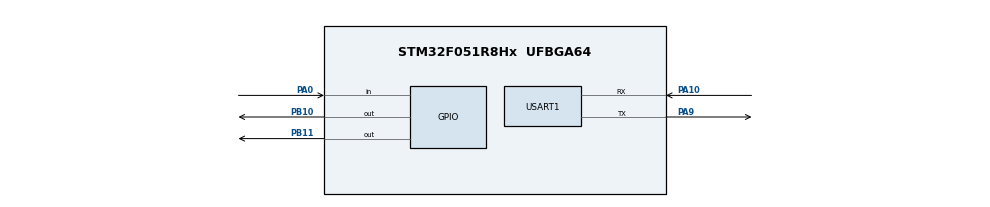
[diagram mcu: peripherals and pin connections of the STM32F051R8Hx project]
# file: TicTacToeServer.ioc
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Mcu.Family=STM32F0
Mcu.Name=STM32F051R8Hx
Mcu.Package=UFBGA64
PA0.GPIO_PuPd=GPIO_PULLUP
PA0.Signal=GPIO_Input
PA10.Mode=Asynchronous
PA10.Signal=USART1_RX
PA13.Mode=Serial_Wire
PA13.Signal=SYS_SWDIO
PA14.Mode=Serial_Wire
PA14.Signal=SYS_SWCLK
PA9.Mode=Asynchronous
PA9.Signal=USART1_TX
PB10.Signal=GPIO_Output
PB11.Signal=GPIO_Output
ProjectManager.HeapSize=0x200
ProjectManager.StackSize=0x400
ProjectManager.TargetToolchain=STM32CubeIDE
USART1.VirtualMode-Asynchronous=VM_ASYNC
board=custom

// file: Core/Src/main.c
/* USER CODE BEGIN Header */
/**
  ******************************************************************************
  * @file           : main.c
  * @brief          : Main program body
  ******************************************************************************
  * @attention
  *
  * Copyright (c) 2026 STMicroelectronics.
  * All rights reserved.
  *
  * This software is licensed under terms that can be found in the LICENSE file
  * in the root directory of this software component.
  * If no LICENSE file comes with this software, it is provided AS-IS.
  *
  ******************************************************************************
  */
/* USER CODE END Header */
#include "main.h"

/* USER CODE BEGIN Includes */
#include <string.h>
#include <stdio.h>
#include <stdlib.h>
/* USER CODE END Includes */

UART_HandleTypeDef huart1;

/* USER CODE BEGIN PV */
/* ---------------------------------------------------------------------------
 * LED (D9, dual colour): PB10 = RED, PB11 = GREEN on the schematic, active HIGH.
 * On this particular board the two colours show swapped, so BOARD_RG_SWAPPED
 * swaps the pins in software. Set it to 0 on a board with correct colours.
 * ------------------------------------------------------------------------- */
#define BOARD_RG_SWAPPED 1
#if BOARD_RG_SWAPPED
  #define LED_R_PIN  GPIO_PIN_11
  #define LED_G_PIN  GPIO_PIN_10
#else
  #define LED_R_PIN  GPIO_PIN_10
  #define LED_G_PIN  GPIO_PIN_11
#endif
#define LED_R_PORT  GPIOB
#define LED_G_PORT  GPIOB
#define LED_ON      GPIO_PIN_SET
#define LED_OFF     GPIO_PIN_RESET

// Button: SW0 on PA0, pressed = LOW (internal pull-up)
#define BUTTON_PORT GPIOA
#define BUTTON_PIN  GPIO_PIN_0
#define BUTTON_DEBOUNCE_MS 50

// Server state
typedef enum { STATE_IDLE, STATE_IN_PROGRESS, STATE_GAME_OVER } GameState;
GameState game_state = STATE_IDLE;
uint8_t connected = 0;          // session flag, set by CONNECT, cleared by DISCONNECT
char board[9];
char turn = 'X';
uint8_t ai_mode = 0;            // 1 = built-in AI plays O (human is X)
uint8_t history[9];             // cell index of every move, in order played
uint8_t hist_len = 0;
char    last_mover = 'X';       // mark of the most recent move (for WIN:<m>)
uint8_t reply_crc = 0;          // 1 = replies carry *HH (set when the last frame did)

// UART receive: ISR -> ring buffer -> main-loop line framer
#define RX_RING_SIZE      128
#define LINE_MAX_LEN      63    // payload chars per frame (terminator excluded)
#define FRAME_TIMEOUT_MS  500   // an unterminated frame is discarded after this
volatile uint8_t  rx_ring[RX_RING_SIZE];
volatile uint16_t rx_head = 0, rx_tail = 0;
volatile uint8_t  rx_fault = 0; // set by ISR on ring overflow or UART error
char     line_buf[LINE_MAX_LEN + 1];
uint16_t line_len = 0;
uint8_t  frame_err = 0;         // FE_* : frame already known to be bad
uint32_t last_rx_tick = 0;
enum { FE_NONE = 0, FE_TOOLONG, FE_GARBAGE };
/* USER CODE END PV */

void SystemClock_Config(void);
static void MX_GPIO_Init(void);
static void MX_USART1_UART_Init(void);
/* USER CODE BEGIN PFP */
void game_new(void);
int  line_win(const char *b, char p);
int  board_full(const char *b);
int  check_win(char p);
int  check_draw(void);
int  apply_move(int idx);
void send_str(const char *s);
void send_board_ok(void);
void send_board_state(void);
void send_move_result(int r);
void handle_move(const char *args);
void handle_undo(void);
void handle_history(void);
int  negamax(char *b, char me, char opp, int depth, int alpha, int beta);
int  ai_choose(char me);
int  ai_reply(void);
uint8_t crc8(const char *s, uint16_t n);
int  strip_checksum(char *buf, uint16_t *len);
void process_command(char *cmd);
void process_rx(void);
void check_frame_timeout(void);
void uart_rx_push(uint8_t b);
void update_led(void);
void check_button(void);
/* USER CODE END PFP */

int main(void)
{

  /* MCU Configuration--------------------------------------------------------*/

  /* Reset of all peripherals, Initializes the Flash interface and the Systick. */
  HAL_Init();

  /* Configure the system clock */
  SystemClock_Config();

  /* Initialize all configured peripherals */
  MX_GPIO_Init();
  MX_USART1_UART_Init();
  /* USER CODE BEGIN 2 */
  // Arm reception FIRST so bytes sent while we boot are not lost.
  // RX is handled by a tiny register-level ISR (USART1_IRQHandler in
  // stm32f0xx_it.c -> uart_rx_push below). HAL's byte-at-a-time IT API is too
  // slow at 8 MHz / 115200 baud and overruns on back-to-back bytes.
  game_state = STATE_IDLE;
  __HAL_UART_ENABLE_IT(&huart1, UART_IT_RXNE);

  // --- Boot indicator: flash LED 3 times ---
  for (int i = 0; i < 3; i++) {
      HAL_GPIO_WritePin(LED_R_PORT, LED_R_PIN, LED_ON);
      HAL_GPIO_WritePin(LED_G_PORT, LED_G_PIN, LED_ON);
      HAL_Delay(100);
      HAL_GPIO_WritePin(LED_R_PORT, LED_R_PIN, LED_OFF);
      HAL_GPIO_WritePin(LED_G_PORT, LED_G_PIN, LED_OFF);
      HAL_Delay(100);
  }

  // --- Boot message over UART ---
  send_str("\r\n=== Tic-Tac-Toe Server Ready ===\r\n");
  send_str("Waiting for CONNECT...\r\n");
  /* USER CODE END 2 */

  /* Infinite loop */
  /* USER CODE BEGIN WHILE */
  while (1)
  {
	  process_rx();
	  check_frame_timeout();
	  update_led();
	  check_button();
    /* USER CODE END WHILE */

  }
}

void SystemClock_Config(void)
{
  RCC_OscInitTypeDef RCC_OscInitStruct = {0};
  RCC_ClkInitTypeDef RCC_ClkInitStruct = {0};
  RCC_PeriphCLKInitTypeDef PeriphClkInit = {0};

  /** Initializes the RCC Oscillators according to the specified parameters
  * in the RCC_OscInitTypeDef structure.
  */
  RCC_OscInitStruct.OscillatorType = RCC_OSCILLATORTYPE_HSI;
  RCC_OscInitStruct.HSIState = RCC_HSI_ON;
  RCC_OscInitStruct.HSICalibrationValue = RCC_HSICALIBRATION_DEFAULT;
  RCC_OscInitStruct.PLL.PLLState = RCC_PLL_NONE;
  if (HAL_RCC_OscConfig(&RCC_OscInitStruct) != HAL_OK)
  {
    Error_Handler();
  }

  /** Initializes the CPU, AHB and APB buses clocks
  */
  RCC_ClkInitStruct.ClockType = RCC_CLOCKTYPE_HCLK|RCC_CLOCKTYPE_SYSCLK
                              |RCC_CLOCKTYPE_PCLK1;
  RCC_ClkInitStruct.SYSCLKSource = RCC_SYSCLKSOURCE_HSI;
  RCC_ClkInitStruct.AHBCLKDivider = RCC_SYSCLK_DIV1;
  RCC_ClkInitStruct.APB1CLKDivider = RCC_HCLK_DIV1;

  if (HAL_RCC_ClockConfig(&RCC_ClkInitStruct, FLASH_LATENCY_0) != HAL_OK)
  {
    Error_Handler();
  }
  PeriphClkInit.PeriphClockSelection = RCC_PERIPHCLK_USART1;
  PeriphClkInit.Usart1ClockSelection = RCC_USART1CLKSOURCE_PCLK1;
  if (HAL_RCCEx_PeriphCLKConfig(&PeriphClkInit) != HAL_OK)
  {
    Error_Handler();
  }
}

static void MX_USART1_UART_Init(void)
{

  huart1.Instance = USART1;
  huart1.Init.BaudRate = 115200;
  huart1.Init.WordLength = UART_WORDLENGTH_8B;
  huart1.Init.StopBits = UART_STOPBITS_1;
  huart1.Init.Parity = UART_PARITY_NONE;
  huart1.Init.Mode = UART_MODE_TX_RX;
  huart1.Init.HwFlowCtl = UART_HWCONTROL_NONE;
  huart1.Init.OverSampling = UART_OVERSAMPLING_16;
  huart1.Init.OneBitSampling = UART_ONE_BIT_SAMPLE_DISABLE;
  huart1.AdvancedInit.AdvFeatureInit = UART_ADVFEATURE_NO_INIT;
  if (HAL_UART_Init(&huart1) != HAL_OK)
  {
    Error_Handler();
  }

}

static void MX_GPIO_Init(void)
{
  GPIO_InitTypeDef GPIO_InitStruct = {0};

  /* GPIO Ports Clock Enable */
  __HAL_RCC_GPIOA_CLK_ENABLE();
  __HAL_RCC_GPIOB_CLK_ENABLE();

  /*Configure GPIO pin Output Level */
  HAL_GPIO_WritePin(GPIOB, GPIO_PIN_10|GPIO_PIN_11, GPIO_PIN_RESET);

  /*Configure GPIO pin : PA0 */
  GPIO_InitStruct.Pin = GPIO_PIN_0;
  GPIO_InitStruct.Mode = GPIO_MODE_INPUT;
  GPIO_InitStruct.Pull = GPIO_PULLUP;
  HAL_GPIO_Init(GPIOA, &GPIO_InitStruct);

  /*Configure GPIO pins : PB10 PB11 */
  GPIO_InitStruct.Pin = GPIO_PIN_10|GPIO_PIN_11;
  GPIO_InitStruct.Mode = GPIO_MODE_OUTPUT_PP;
  GPIO_InitStruct.Pull = GPIO_NOPULL;
  GPIO_InitStruct.Speed = GPIO_SPEED_FREQ_LOW;
  HAL_GPIO_Init(GPIOB, &GPIO_InitStruct);

}

/* USER CODE BEGIN 4 */

/* ============================ game logic ================================== */
enum { MV_CONTINUE = 0, MV_WIN, MV_DRAW };

void game_new(void) {
    memset(board, '.', 9);
    turn = 'X';
    hist_len = 0;
    game_state = STATE_IN_PROGRESS;
}

static const uint8_t win_lines[8][3] = {
    {0,1,2},{3,4,5},{6,7,8},
    {0,3,6},{1,4,7},{2,5,8},
    {0,4,8},{2,4,6}
};

int line_win(const char *b, char p) {
    for (int i = 0; i < 8; i++) {
        if (b[win_lines[i][0]] == p &&
            b[win_lines[i][1]] == p &&
            b[win_lines[i][2]] == p) return 1;
    }
    return 0;
}

int board_full(const char *b) {
    for (int i = 0; i < 9; i++) if (b[i] == '.') return 0;
    return 1;
}

int check_win(char p)  { return line_win(board, p); }
int check_draw(void)   { return board_full(board); }

/* The ONLY function that writes a mark to the board. Used by the human's MOVE
 * and by the AI, so both obey the same rules. The caller has already checked
 * that idx is in range and the cell is empty.                                */
int apply_move(int idx) {
    history[hist_len++] = (uint8_t)idx;
    board[idx] = turn;
    last_mover = turn;
    if (check_win(turn))   { game_state = STATE_GAME_OVER; return MV_WIN; }
    if (board_full(board)) { game_state = STATE_GAME_OVER; return MV_DRAW; }
    turn = (turn == 'X') ? 'O' : 'X';
    return MV_CONTINUE;
}

/* ============================ AI opponent ================================= *
 * Negamax with alpha-beta pruning on a COPY of the board (the real board is
 * only changed by apply_move). Score from the mover's view: win = 10 - depth,
 * draw = 0, loss = -(10 - depth). Cells are tried centre, corners, edges, so
 * the first best move is deterministic and pruning is effective.            */
#ifndef AI_NODE_HOOK
#define AI_NODE_HOOK()   /* host-test hook that counts search nodes; empty on the target */
#endif
static const uint8_t ai_order[9] = {4, 0, 2, 6, 8, 1, 3, 5, 7};

int negamax(char *b, char me, char opp, int depth, int alpha, int beta) {
    int best = -100;
    AI_NODE_HOOK();
    for (int k = 0; k < 9; k++) {
        int i = ai_order[k], sc;
        if (b[i] != '.') continue;
        b[i] = me;
        if (line_win(b, me))     sc = 10 - depth;
        else if (board_full(b))  sc = 0;
        else                     sc = -negamax(b, opp, me, depth + 1, -beta, -alpha);
        b[i] = '.';
        if (sc > best)   best = sc;
        if (best > alpha) alpha = best;
        if (alpha >= beta) break;
    }
    return best;
}

int ai_choose(char me) {
    char b[9];
    char opp = (me == 'X') ? 'O' : 'X';
    int best = -100, best_i = -1;
    memcpy(b, board, 9);
    for (int k = 0; k < 9; k++) {
        int i = ai_order[k], sc;
        if (b[i] != '.') continue;
        b[i] = me;
        if (line_win(b, me))     sc = 10;
        else if (board_full(b))  sc = 0;
        else                     sc = -negamax(b, opp, me, 1, -100, -best);
        b[i] = '.';
        if (sc > best) { best = sc; best_i = i; }
    }
    return best_i;
}

/* The AI plays the side to move. It only ever picks an empty cell, and the
 * cell is re-checked before apply_move, so it cannot make an illegal move.   */
int ai_reply(void) {
    int idx = ai_choose(turn);
    if (idx < 0 || board[idx] != '.') return MV_CONTINUE;
    return apply_move(idx);
}

/* ============================== checksum ================================== *
 * Optional frame suffix "*HH": HH = two hex digits of CRC-8 (poly 0x07, init
 * 0, no reflection, no final XOR) over the payload before the '*'.
 * crc8("123456789") = 0xF4. A frame that carries a valid-looking suffix is
 * verified (CRC_BAD -> NACK:CHECKSUM, nothing executed) and the reply carries
 * a suffix too; a frame without one is accepted and answered without one.   */
enum { CRC_NONE = 0, CRC_OK, CRC_BAD };

uint8_t crc8(const char *s, uint16_t n) {
    uint8_t c = 0;
    while (n--) {
        c ^= (uint8_t)*s++;
        for (int i = 0; i < 8; i++)
            c = (c & 0x80) ? (uint8_t)((c << 1) ^ 0x07) : (uint8_t)(c << 1);
    }
    return c;
}

static int hexval(char c) {
    if (c >= '0' && c <= '9') return c - '0';
    if (c >= 'A' && c <= 'F') return c - 'A' + 10;
    if (c >= 'a' && c <= 'f') return c - 'a' + 10;
    return -1;
}

int strip_checksum(char *buf, uint16_t *len) {
    uint16_t n = *len;
    int hi = -1, lo = -1;
    if (n >= 3 && buf[n - 3] == '*' &&
        (hi = hexval(buf[n - 2])) >= 0 && (lo = hexval(buf[n - 1])) >= 0) {
        buf[n - 3] = '\0';
        *len = (uint16_t)(n - 3);
        reply_crc = 1;
        return (crc8(buf, (uint16_t)(n - 3)) == (uint8_t)((hi << 4) | lo)) ? CRC_OK : CRC_BAD;
    }
    reply_crc = 0;
    return CRC_NONE;
}

/* ============================== output ==================================== */
void send_str(const char *s) {
    size_t n = strlen(s);
    if (reply_crc && n >= 2 && n < 60 && s[n - 1] == '\n') {
        char buf[64];
        memcpy(buf, s, n - 1);
        snprintf(buf + n - 1, 5, "*%02X\n", crc8(s, (uint16_t)(n - 1)));
        HAL_UART_Transmit(&huart1, (uint8_t *)buf, (uint16_t)(n + 3), 100);
    } else {
        HAL_UART_Transmit(&huart1, (uint8_t *)s, (uint16_t)n, 100);
    }
}

void send_board_ok(void) {
    char buf[32];
    snprintf(buf, sizeof(buf), "OK:BOARD:%.9s\n", board);
    send_str(buf);
}

void send_board_state(void) {
    char buf[32];
    snprintf(buf, sizeof(buf), "BOARD:%.9s\n", board);
    send_str(buf);
}

void send_move_result(int r) {
    if (r == MV_WIN) {
        char buf[16];
        snprintf(buf, sizeof(buf), "WIN:%c\n", last_mover);
        send_str(buf);
    } else if (r == MV_DRAW) {
        send_str("DRAW\n");
    } else {
        send_board_ok();
    }
}

/* ============================ MOVE handler ================================ *
 * Grammar:  MOVE:<int>            e.g. MOVE:4
 *           MOVE:<int>:<X|O>      optional mark; rejected with NOTURN if it
 *                                 is not the side to move.
 * Anything else after "MOVE:" is NACK:BADCMD. Nothing is changed unless every
 * check passes. In AI mode the AI answers immediately, so the reply shows the
 * board after BOTH moves (or the final result).                              */
void handle_move(const char *p) {
    if (game_state != STATE_IN_PROGRESS) { send_str("NACK:NOGAME\n"); return; }

    int neg = 0, ndigits = 0, idx = 0;
    char mark = 0;

    if (*p == '-') { neg = 1; p++; }
    while (*p >= '0' && *p <= '9') {
        if (idx < 1000) idx = idx * 10 + (*p - '0');   // saturate, no overflow
        p++; ndigits++;
    }
    if (ndigits == 0) { send_str("NACK:BADCMD\n"); return; }

    if (*p == ':') {
        mark = p[1];
        if ((mark != 'X' && mark != 'O') || p[2] != '\0') { send_str("NACK:BADCMD\n"); return; }
    } else if (*p != '\0') {
        send_str("NACK:BADCMD\n"); return;
    }

    if (neg || idx > 8)         { send_str("NACK:RANGE\n");    return; }
    if (mark && mark != turn)   { send_str("NACK:NOTURN\n");   return; }
    if (board[idx] != '.')      { send_str("NACK:OCCUPIED\n"); return; }

    int r = apply_move(idx);                 // first write to the board
    if (r == MV_CONTINUE && ai_mode) r = ai_reply();
    send_move_result(r);
}

/* UNDO: IN_PROGRESS only. Removes the last move (hot-seat) or the last pair of
 * moves (AI mode, so it is the human's turn again). Checks first, then writes. */
void handle_undo(void) {
    uint8_t n = ai_mode ? 2 : 1;
    if (game_state != STATE_IN_PROGRESS) { send_str("NACK:NOGAME\n");  return; }
    if (hist_len < n)                    { send_str("NACK:NOUNDO\n");  return; }
    while (n--) board[history[--hist_len]] = '.';
    turn = (hist_len % 2 == 0) ? 'X' : 'O';
    send_board_ok();
}

/* HISTORY: "HIST:" followed by the cell indices in move order, comma separated
 * ("HIST:4,0,2"; "HIST:" when there are none). Same states as STATE.         */
void handle_history(void) {
    char buf[40];
    int k = 0;
    if (game_state == STATE_IDLE) { send_str("NACK:NOGAME\n"); return; }
    memcpy(buf, "HIST:", 5); k = 5;
    for (int i = 0; i < hist_len; i++) {
        if (i) buf[k++] = ',';
        buf[k++] = (char)('0' + history[i]);
    }
    buf[k++] = '\n';
    buf[k] = '\0';
    send_str(buf);
}

/* ========================= command dispatcher ============================= *
 * IDLE        : CONNECT, NEW, NEW:AI
 * IN_PROGRESS : MOVE, STATE, HISTORY, UNDO, RESIGNzz
 * GAME_OVER   : NEW, NEW:AI, STATE, HISTORY, DISCONNECT
 * Departures (documented): CONNECT is accepted in any state (idempotent), and
 * DISCONNECT is accepted in any state (aborts the game, returns to IDLE).
 * Extra NACKs: NOCONN, TOOLONG, TIMEOUT, CHECKSUM, NOUNDO.                   */
void process_command(char *cmd) {
    if (strcmp(cmd, "CONNECT") == 0) { connected = 1; send_str("OK\n"); return; }

    int known = (strcmp(cmd, "NEW") == 0)     || (strcmp(cmd, "NEW:AI") == 0) ||
                (strcmp(cmd, "STATE") == 0)   || (strcmp(cmd, "RESIGN") == 0) ||
                (strcmp(cmd, "UNDO") == 0)    || (strcmp(cmd, "HISTORY") == 0) ||
                (strcmp(cmd, "DISCONNECT") == 0) || (strncmp(cmd, "MOVE:", 5) == 0);
    if (!known)     { send_str("NACK:BADCMD\n"); return; }
    if (!connected) { send_str("NACK:NOCONN\n"); return; }

    if (strcmp(cmd, "NEW") == 0 || strcmp(cmd, "NEW:AI") == 0) {
        if (game_state == STATE_IN_PROGRESS) { send_str("NACK:BADCMD\n"); return; }
        ai_mode = (cmd[3] == ':');
        game_new();
        send_board_ok();
        return;
    }
    if (strcmp(cmd, "STATE") == 0) {
        if (game_state == STATE_IDLE) { send_str("NACK:NOGAME\n"); return; }
        send_board_state();
        return;
    }
    if (strcmp(cmd, "HISTORY") == 0) { handle_history(); return; }
    if (strcmp(cmd, "UNDO") == 0)    { handle_undo();    return; }
    if (strcmp(cmd, "RESIGN") == 0) {
        if (game_state != STATE_IN_PROGRESS) { send_str("NACK:NOGAME\n"); return; }
        game_state = STATE_GAME_OVER;
        send_str("OK:GAMEOVER\n");
        return;
    }
    if (strcmp(cmd, "DISCONNECT") == 0) {
        connected = 0;
        ai_mode = 0;
        game_state = STATE_IDLE;
        send_str("OK\n");
        return;
    }
    handle_move(cmd + 5);   // "MOVE:" prefix already matched
}

/* ============================== framing =================================== *
 * Frames end at '\n' or '\r' (so CRLF works; the empty second terminator is
 * ignored). Max LINE_MAX_LEN chars (the "*HH" suffix counts). Oversized or
 * non-printable frames are discarded UNTIL the next terminator and answered
 * with exactly one NACK, so the tail of a bad frame can never be executed.   */
void process_rx(void) {
    if (rx_fault) {
        rx_fault = 0;
        if (!frame_err) frame_err = FE_GARBAGE;
    }
    while (rx_tail != rx_head) {
        char c = (char)rx_ring[rx_tail];
        rx_tail = (rx_tail + 1) % RX_RING_SIZE;
        last_rx_tick = HAL_GetTick();

        if (c == '\n' || c == '\r') {
            if (frame_err) {
                send_str(frame_err == FE_TOOLONG ? "NACK:TOOLONG\n" : "NACK:BADCMD\n");
            } else if (line_len > 0) {
                line_buf[line_len] = '\0';
                if (strip_checksum(line_buf, &line_len) == CRC_BAD)
                    send_str("NACK:CHECKSUM\n");        // nothing is executed
                else
                    process_command(line_buf);
            }
            line_len = 0;
            frame_err = FE_NONE;
        } else if (frame_err) {
            /* discarding the rest of a bad frame */
        } else if ((unsigned char)c < 0x20 || (unsigned char)c > 0x7E) {
            frame_err = FE_GARBAGE;
        } else if (line_len < LINE_MAX_LEN) {
            line_buf[line_len++] = c;
        } else {
            frame_err = FE_TOOLONG;
        }
    }
}

/* Drop a half-received frame if the sender goes quiet. */
void check_frame_timeout(void) {
    if ((line_len > 0 || frame_err) &&
        (HAL_GetTick() - last_rx_tick) > FRAME_TIMEOUT_MS) {
        if (frame_err == FE_TOOLONG)       send_str("NACK:TOOLONG\n");
        else if (frame_err == FE_GARBAGE)  send_str("NACK:BADCMD\n");
        else                               send_str("NACK:TIMEOUT\n");
        line_len = 0;
        frame_err = FE_NONE;
    }
}

/* ============================ UART receive ================================ *
 * Called from USART1_IRQHandler (stm32f0xx_it.c) for every received byte.
 * Keep it short: it runs at interrupt level.                                 */
void uart_rx_push(uint8_t b) {
    uint16_t next = (uint16_t)((rx_head + 1) % RX_RING_SIZE);
    if (next == rx_tail) {
        rx_fault = 1;                 // ring full: drop byte, poison frame
    } else {
        rx_ring[rx_head] = b;
        rx_head = next;
    }
}

/* ============================ LED and button ============================== */
void update_led(void) {
    static uint32_t last = 0;
    static uint8_t blink = 0;

    if (game_state == STATE_IDLE) {
        HAL_GPIO_WritePin(LED_R_PORT, LED_R_PIN, LED_OFF);
        HAL_GPIO_WritePin(LED_G_PORT, LED_G_PIN, LED_OFF);
    }
    else if (game_state == STATE_IN_PROGRESS) {
        if (turn == 'X') {                       // RED = X to move
            HAL_GPIO_WritePin(LED_R_PORT, LED_R_PIN, LED_ON);
            HAL_GPIO_WritePin(LED_G_PORT, LED_G_PIN, LED_OFF);
        } else {                                 // GREEN = O to move
            HAL_GPIO_WritePin(LED_R_PORT, LED_R_PIN, LED_OFF);
            HAL_GPIO_WritePin(LED_G_PORT, LED_G_PIN, LED_ON);
        }
    }
    else {                                       // GAME_OVER: blink both
        if (HAL_GetTick() - last > 150) {
            last = HAL_GetTick();
            blink = !blink;
            HAL_GPIO_WritePin(LED_R_PORT, LED_R_PIN, blink ? LED_ON : LED_OFF);
            HAL_GPIO_WritePin(LED_G_PORT, LED_G_PIN, blink ? LED_ON : LED_OFF);
        }
    }
}

/* Button = local "new game". Only while a PC session exists, and the PC is
 * told with an unsolicited OK:BOARD line so the GUI stays in sync.
 * Non-blocking debounce (no HAL_Delay).                                      */
void check_button(void) {
    static uint8_t last = 1;
    static uint32_t t_edge = 0;
    uint8_t cur = (uint8_t)HAL_GPIO_ReadPin(BUTTON_PORT, BUTTON_PIN);

    if (last == 1 && cur == 0 && (HAL_GetTick() - t_edge) > BUTTON_DEBOUNCE_MS) {
        t_edge = HAL_GetTick();
        if (connected) {
            game_new();
            send_board_ok();
        }
    }
    last = cur;
}
/* USER CODE END 4 */

void Error_Handler(void)
{
  __disable_irq();
  while (1)
  {
  }
}
